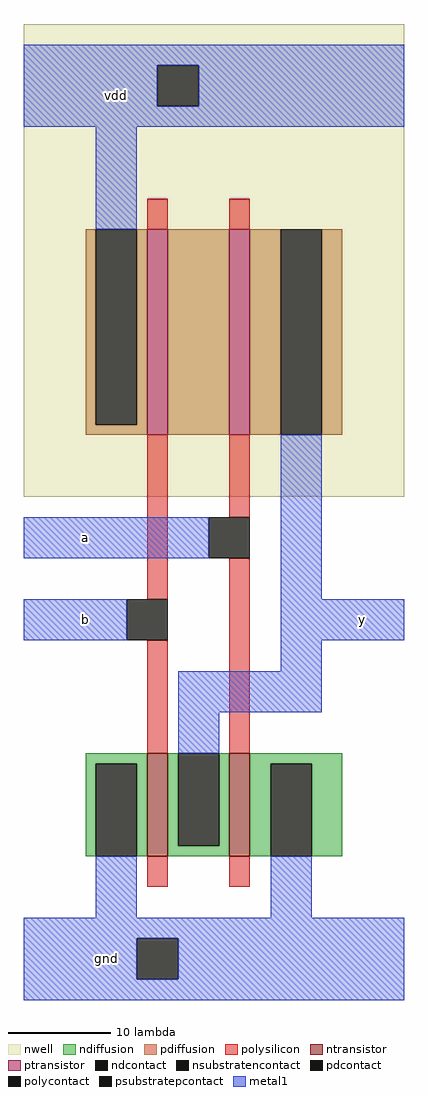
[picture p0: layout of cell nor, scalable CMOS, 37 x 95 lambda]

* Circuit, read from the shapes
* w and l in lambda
.subckt nor a b gnd vdd y
M1 y b gnd gnd nfet w=10 l=2
M2 gnd a y gnd nfet w=10 l=2
M3 n1 b vdd vdd pfet w=20 l=2
M4 y a n1 vdd pfet w=20 l=2
.ends

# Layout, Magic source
magic
tech scmos
<< nwell >>
rect 51 0 88 46
<< ntransistor >>
rect 63 -35 65 -25
rect 71 -35 73 -25
<< ptransistor >>
rect 63 6 65 26
rect 71 6 73 26
<< ndiffusion >>
rect 57 -26 63 -25
rect 57 -35 58 -26
rect 62 -35 63 -26
rect 65 -34 66 -25
rect 70 -34 71 -25
rect 65 -35 71 -34
rect 73 -26 82 -25
rect 73 -35 75 -26
rect 79 -35 82 -26
<< pdiffusion >>
rect 57 7 58 26
rect 62 7 63 26
rect 57 6 63 7
rect 65 6 71 26
rect 73 6 76 26
rect 80 6 82 26
<< ndcontact >>
rect 58 -35 62 -26
rect 66 -34 70 -25
rect 75 -35 79 -26
<< pdcontact >>
rect 58 7 62 26
rect 76 6 80 26
<< psubstratepcontact >>
rect 62 -47 66 -43
<< nsubstratencontact >>
rect 64 38 68 42
<< polysilicon >>
rect 63 26 65 29
rect 71 26 73 29
rect 63 -10 65 6
rect 71 -2 73 6
rect 63 -25 65 -14
rect 71 -25 73 -6
rect 63 -38 65 -35
rect 71 -38 73 -35
<< polycontact >>
rect 69 -6 73 -2
rect 61 -14 65 -10
<< metal1 >>
rect 51 42 88 44
rect 51 38 64 42
rect 68 38 88 42
rect 51 36 88 38
rect 58 26 62 36
rect 51 -6 69 -2
rect 76 -10 80 6
rect 51 -14 61 -10
rect 76 -14 88 -10
rect 76 -17 80 -14
rect 66 -21 80 -17
rect 66 -25 70 -21
rect 58 -41 62 -35
rect 75 -41 79 -35
rect 51 -43 88 -41
rect 51 -47 62 -43
rect 66 -47 88 -43
rect 51 -49 88 -47
<< labels >>
rlabel metal1 60 39 60 39 1 vdd
rlabel metal1 59 -45 59 -45 1 gnd
rlabel metal1 57 -4 57 -4 1 a
rlabel metal1 57 -12 57 -12 1 b
rlabel metal1 84 -12 84 -12 7 y
<< end >>
